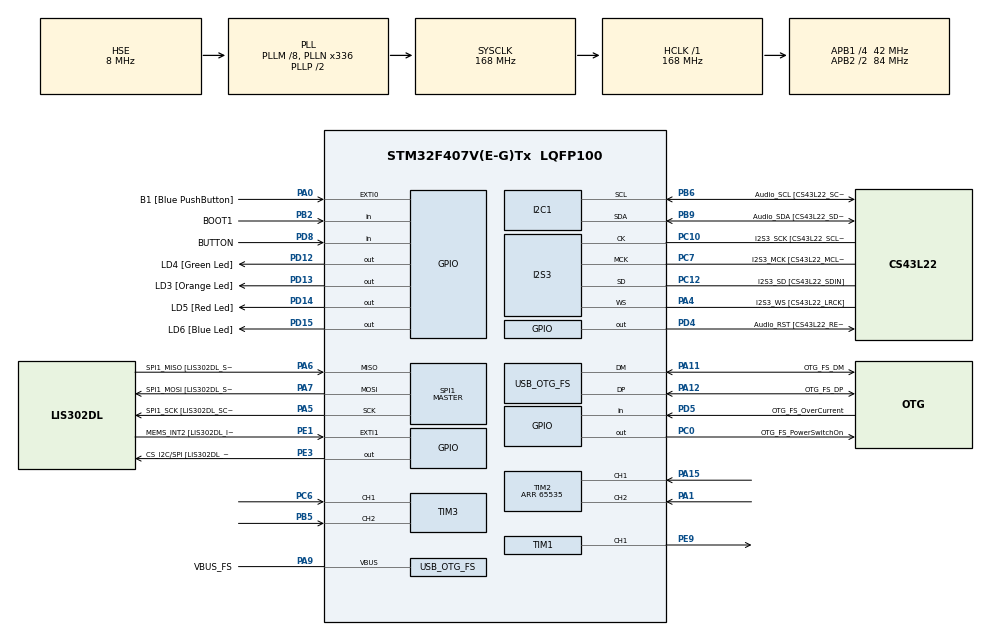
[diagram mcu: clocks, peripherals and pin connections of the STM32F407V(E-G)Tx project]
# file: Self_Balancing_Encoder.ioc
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I2S3.AudioFreq-Half_Duplex_Master=I2S_AUDIOFREQ_96K
I2S3.ErrorAudioFreq=-2.34 %
I2S3.ErrorAudioFreq-Half_Duplex_Master=0.8 %
I2S3.FullDuplexMode=I2S_FULLDUPLEXMODE_DISABLE
I2S3.Instance=SPI$Index
I2S3.RealAudioFreq=93.75 KHz
I2S3.RealAudioFreq-Half_Duplex_Master=96.774 KHz
I2S3.VirtualMode=I2S_MODE_MASTER
Mcu.Family=STM32F4
Mcu.Name=STM32F407V(E-G)Tx
Mcu.Package=LQFP100
NVIC.OTG_FS_IRQn=true\:0\:0\:false\:false\:true\:true\:true\:true
NVIC.PriorityGroup=NVIC_PRIORITYGROUP_0
NVIC.TIM2_IRQn=true\:0\:0\:false\:false\:true\:true\:true\:true
NVIC.TIM3_IRQn=true\:0\:0\:false\:false\:true\:true\:true\:true
PA0-WKUP.GPIO_Label=B1 [Blue PushButton]
PA0-WKUP.GPIO_ModeDefaultEXTI=GPIO_MODE_EVT_RISING
PA0-WKUP.GPIO_PuPd=GPIO_NOPULL
PA0-WKUP.Signal=GPXTI0
PA1.Signal=S_TIM2_CH2
PA10.GPIO_Label=OTG_FS_ID
PA10.GPIO_Mode=GPIO_MODE_AF_PP
PA10.GPIO_PuPd=GPIO_NOPULL
PA10.GPIO_Speed=GPIO_SPEED_FREQ_LOW
PA10.Signal=USB_OTG_FS_ID
PA11.GPIO_Label=OTG_FS_DM
PA11.GPIO_Mode=GPIO_MODE_AF_PP
PA11.GPIO_PuPd=GPIO_NOPULL
PA11.GPIO_Speed=GPIO_SPEED_FREQ_LOW
PA11.Mode=Host_Only
PA11.Signal=USB_OTG_FS_DM
PA12.GPIO_Label=OTG_FS_DP
PA12.GPIO_Mode=GPIO_MODE_AF_PP
PA12.GPIO_PuPd=GPIO_NOPULL
PA12.GPIO_Speed=GPIO_SPEED_FREQ_LOW
PA12.Mode=Host_Only
PA12.Signal=USB_OTG_FS_DP
PA13.GPIO_Label=SWDIO
PA13.Mode=Serial_Wire
PA13.Signal=SYS_JTMS-SWDIO
PA14.GPIO_Label=SWCLK
PA14.Mode=Serial_Wire
PA14.Signal=SYS_JTCK-SWCLK
PA15.Signal=S_TIM2_CH1_ETR
PA4.GPIO_Label=I2S3_WS [CS43L22_LRCK]
PA4.GPIO_Mode=GPIO_MODE_AF_PP
PA4.GPIO_PuPd=GPIO_NOPULL
PA4.GPIO_Speed=GPIO_SPEED_FREQ_LOW
PA4.Mode=Half_Duplex_Master
PA4.Signal=I2S3_WS
PA5.GPIO_Label=SPI1_SCK [LIS302DL_SCL/SPC]
PA5.GPIO_Mode=GPIO_MODE_AF_PP
PA5.GPIO_PuPd=GPIO_NOPULL
PA5.GPIO_Speed=GPIO_SPEED_FREQ_LOW
PA5.Mode=Full_Duplex_Master
PA5.Signal=SPI1_SCK
PA6.GPIO_Label=SPI1_MISO [LIS302DL_SDO]
PA6.GPIO_Mode=GPIO_MODE_AF_PP
PA6.GPIO_PuPd=GPIO_NOPULL
PA6.GPIO_Speed=GPIO_SPEED_FREQ_LOW
PA6.Mode=Full_Duplex_Master
PA6.Signal=SPI1_MISO
PA7.GPIO_Label=SPI1_MOSI [LIS302DL_SDA/SDI/SDO]
PA7.GPIO_Mode=GPIO_MODE_AF_PP
PA7.GPIO_PuPd=GPIO_NOPULL
PA7.GPIO_Speed=GPIO_SPEED_FREQ_LOW
PA7.Mode=Full_Duplex_Master
PA7.Signal=SPI1_MOSI
PA9.GPIO_Label=VBUS_FS
PA9.GPIO_Mode=GPIO_MODE_INPUT
PA9.GPIO_PuPd=GPIO_NOPULL
PA9.Mode=Activate_VBUS
PA9.Signal=USB_OTG_FS_VBUS
PB10.GPIO_Label=CLK_IN [MP45DT02_CLK]
PB10.GPIO_Mode=GPIO_MODE_AF_PP
PB10.GPIO_PuPd=GPIO_NOPULL
PB10.GPIO_Speed=GPIO_SPEED_FREQ_LOW
PB10.Signal=I2S2_CK
PB2.GPIO_Label=BOOT1
PB2.GPIO_Mode=GPIO_MODE_INPUT
PB2.GPIO_PuPd=GPIO_NOPULL
PB2.Signal=GPIO_Input
PB3.GPIO_Label=SWO
PB3.Signal=SYS_JTDO-SWO
PB5.Signal=S_TIM3_CH2
PB6.GPIO_Label=Audio_SCL [CS43L22_SCL]
PB6.GPIO_Mode=GPIO_MODE_AF_OD
PB6.GPIO_Pu=GPIO_PULLUP
PB6.GPIO_PuPd=GPIO_NOPULL
PB6.GPIO_Speed=GPIO_SPEED_FREQ_LOW
PB6.Mode=I2C
PB6.Signal=I2C1_SCL
PB9.GPIO_Label=Audio_SDA [CS43L22_SDA]
PB9.GPIO_Mode=GPIO_MODE_AF_OD
PB9.GPIO_Pu=GPIO_PULLUP
PB9.GPIO_PuPd=GPIO_NOPULL
PB9.GPIO_Speed=GPIO_SPEED_FREQ_LOW
PB9.Mode=I2C
PB9.Signal=I2C1_SDA
PC0.GPIO_Label=OTG_FS_PowerSwitchOn
PC0.GPIO_PuPd=GPIO_NOPULL
PC0.GPIO_Speed=GPIO_SPEED_FREQ_LOW
PC0.PinState=GPIO_PIN_SET
PC0.Signal=GPIO_Output
PC10.GPIO_Label=I2S3_SCK [CS43L22_SCLK]
PC10.GPIO_Mode=GPIO_MODE_AF_PP
PC10.GPIO_PuPd=GPIO_NOPULL
PC10.GPIO_Speed=GPIO_SPEED_FREQ_LOW
PC10.Mode=Half_Duplex_Master
PC10.Signal=I2S3_CK
PC12.GPIO_Label=I2S3_SD [CS43L22_SDIN]
PC12.GPIO_Mode=GPIO_MODE_AF_PP
PC12.GPIO_PuPd=GPIO_NOPULL
PC12.GPIO_Speed=GPIO_SPEED_FREQ_LOW
PC12.Mode=Half_Duplex_Master
PC12.Signal=I2S3_SD
PC14-OSC32_IN.GPIO_Label=PC14-OSC32_IN
PC14-OSC32_IN.Mode=LSE-External-Oscillator
PC14-OSC32_IN.Signal=RCC_OSC32_IN
PC15-OSC32_OUT.GPIO_Label=PC15-OSC32_OUT
PC15-OSC32_OUT.Mode=LSE-External-Oscillator
PC15-OSC32_OUT.Signal=RCC_OSC32_OUT
PC3.GPIO_Label=PDM_OUT [MP45DT02_DOUT]
PC3.GPIO_Mode=GPIO_MODE_AF_PP
PC3.GPIO_PuPd=GPIO_NOPULL
PC3.GPIO_Speed=GPIO_SPEED_FREQ_LOW
PC3.Signal=I2S2_SD
PC6.Signal=S_TIM3_CH1
PC7.GPIO_Label=I2S3_MCK [CS43L22_MCLK]
PC7.GPIO_Mode=GPIO_MODE_AF_PP
PC7.GPIO_PuPd=GPIO_NOPULL
PC7.GPIO_Speed=GPIO_SPEED_FREQ_LOW
PC7.Mode=Master_Clock_Activated
PC7.Signal=I2S3_MCK
PD12.GPIO_Label=LD4 [Green Led]
PD12.GPIO_PuPd=GPIO_NOPULL
PD12.GPIO_Speed=GPIO_SPEED_FREQ_LOW
PD12.Signal=GPIO_Output
PD13.GPIO_Label=LD3 [Orange Led]
PD13.GPIO_PuPd=GPIO_NOPULL
PD13.GPIO_Speed=GPIO_SPEED_FREQ_LOW
PD13.Signal=GPIO_Output
PD14.GPIO_Label=LD5 [Red Led]
PD14.GPIO_PuPd=GPIO_NOPULL
PD14.GPIO_Speed=GPIO_SPEED_FREQ_LOW
PD14.Signal=GPIO_Output
PD15.GPIO_Label=LD6 [Blue Led]
PD15.GPIO_PuPd=GPIO_NOPULL
PD15.GPIO_Speed=GPIO_SPEED_FREQ_LOW
PD15.Signal=GPIO_Output
PD4.GPIO_Label=Audio_RST [CS43L22_RESET]
PD4.GPIO_PuPd=GPIO_NOPULL
PD4.GPIO_Speed=GPIO_SPEED_FREQ_LOW
PD4.Signal=GPIO_Output
PD5.GPIO_Label=OTG_FS_OverCurrent
PD5.GPIO_Mode=GPIO_MODE_INPUT
PD5.GPIO_PuPd=GPIO_NOPULL
PD5.Signal=GPIO_Input
PD8.GPIO_Label=BUTTON
PD8.GPIO_PuPd=GPIO_PULLDOWN
PD8.Signal=GPIO_Input
PE1.GPIO_Label=MEMS_INT2 [LIS302DL_INT2]
PE1.GPIO_ModeDefaultEXTI=GPIO_MODE_EVT_RISING
PE1.GPIO_PuPd=GPIO_NOPULL
PE1.Signal=GPXTI1
PE3.GPIO_Label=CS_I2C/SPI [LIS302DL_CS_I2C/SPI]
PE3.GPIO_PuPd=GPIO_NOPULL
PE3.GPIO_Speed=GPIO_SPEED_FREQ_LOW
PE3.Signal=GPIO_Output
PE9.Signal=S_TIM1_CH1
PH0-OSC_IN.GPIO_Label=PH0-OSC_IN
PH0-OSC_IN.Mode=HSE-External-Oscillator
PH0-OSC_IN.Signal=RCC_OSC_IN
PH1-OSC_OUT.GPIO_Label=PH1-OSC_OUT
PH1-OSC_OUT.Mode=HSE-External-Oscillator
PH1-OSC_OUT.Signal=RCC_OSC_OUT
ProjectManager.HeapSize=0x200
ProjectManager.StackSize=0x400
ProjectManager.TargetToolchain=STM32CubeIDE
RCC.48MHZClocksFreq_Value=48000000
RCC.AHBFreq_Value=168000000
RCC.APB1CLKDivider=RCC_HCLK_DIV4
RCC.APB1Freq_Value=42000000
RCC.APB1TimFreq_Value=84000000
RCC.APB2CLKDivider=RCC_HCLK_DIV2
RCC.APB2Freq_Value=84000000
RCC.APB2TimFreq_Value=168000000
RCC.CortexFreq_Value=168000000
RCC.HCLKFreq_Value=168000000
RCC.HSE_VALUE=8000000
RCC.HSI_VALUE=16000000
RCC.PLLM=8
RCC.PLLN=336
RCC.PLLQ=7
RCC.SYSCLKFreq_VALUE=168000000
RCC.SYSCLKSource=RCC_SYSCLKSOURCE_PLLCLK
RCC.VCOOutputFreq_Value=336000000
SH.S_TIM1_CH1.0=TIM1_CH1,PWM Generation1 CH1
SH.S_TIM2_CH1_ETR.0=TIM2_CH1,Encoder_Interface
SH.S_TIM2_CH2.0=TIM2_CH2,Encoder_Interface
SH.S_TIM3_CH1.0=TIM3_CH1,Encoder_Interface
SH.S_TIM3_CH2.0=TIM3_CH2,Encoder_Interface
SPI1.BaudRatePrescaler-Full_Duplex_Master=SPI_BAUDRATEPRESCALER_2
SPI1.CalculateBaudRate-Full_Duplex_Master=42.0 MBits/s
SPI1.Direction=SPI_DIRECTION_2LINES
SPI1.Mode=SPI_MODE_MASTER
SPI1.Mode-Full_Duplex_Master=SPI_MODE_MASTER
SPI1.VirtualType=VM_MASTER
TIM1.Channel-PWM\ Generation1\ CH1=TIM_CHANNEL_1
TIM1.Prescaler=16800-1
TIM2.EncoderMode=TIM_ENCODERMODE_TI12
TIM2.IC1Polarity=TIM_ICPOLARITY_FALLING
TIM2.IC2Polarity=TIM_ICPOLARITY_FALLING
TIM2.Period=65535
TIM3.IC1Polarity=TIM_ICPOLARITY_FALLING
TIM3.IC2Polarity=TIM_ICPOLARITY_FALLING
USB_HOST.BSP.number=1
USB_HOST.USBH_HandleTypeDef-CDC_FS=hUsbHostFS
USB_HOST.VirtualModeFS=Cdc
USB_HOST0.BSP.STBoard=false
USB_HOST0.BSP.api=Unknown
USB_HOST0.BSP.instance=PC0
USB_HOST0.BSP.ip=GPIO
USB_HOST0.BSP.mode=Output
USB_HOST0.BSP.name=Drive_VBUS_FS
USB_HOST0.BSP.solution=PC0
USB_OTG_FS.VirtualMode=Host_Only
USB_OTG_FS.phy_itface=HCD_PHY_EMBEDDED
VP_USB_HOST_VS_USB_HOST_CDC_FS.Mode=CDC_FS
board=STM32F407G-DISC1

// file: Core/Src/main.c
/* USER CODE BEGIN Header */
/**
  ******************************************************************************
  * @file           : main.c
  * @brief          : Main program body
  ******************************************************************************
  * @attention
  *
  * Copyright (c) 2025 STMicroelectronics.
  * All rights reserved.
  *
  * This software is licensed under terms that can be found in the LICENSE file
  * in the root directory of this software component.
  * If no LICENSE file comes with this software, it is provided AS-IS.
  *
  ******************************************************************************
  */
/* USER CODE END Header */
#include "main.h"
#include "usb_host.h"

I2C_HandleTypeDef hi2c1;

I2S_HandleTypeDef hi2s3;

SPI_HandleTypeDef hspi1;

TIM_HandleTypeDef htim1;
TIM_HandleTypeDef htim2;
TIM_HandleTypeDef htim3;

/* USER CODE BEGIN PV */
uint32_t gCounter1 = 0;
int16_t gCount1 = 0;
int16_t gPosition1 = 0;
int16_t gSpeed1 = 0;

uint32_t gCounter2 = 0;
int16_t gCount2 = 0;
int16_t gPosition2 = 0;
int16_t gSpeed2 = 0;
/* USER CODE END PV */

void SystemClock_Config(void);
static void MX_GPIO_Init(void);
static void MX_I2C1_Init(void);
static void MX_I2S3_Init(void);
static void MX_SPI1_Init(void);
static void MX_TIM1_Init(void);
static void MX_TIM2_Init(void);
static void MX_TIM3_Init(void);
void MX_USB_HOST_Process(void);

int main(void)
{

  /* MCU Configuration--------------------------------------------------------*/

  /* Reset of all peripherals, Initializes the Flash interface and the Systick. */
  HAL_Init();

  /* Configure the system clock */
  SystemClock_Config();

  /* Initialize all configured peripherals */
  MX_GPIO_Init();
  MX_I2C1_Init();
  MX_I2S3_Init();
  MX_SPI1_Init();
  MX_USB_HOST_Init();
  MX_TIM1_Init();
  MX_TIM2_Init();
  MX_TIM3_Init();
  /* USER CODE BEGIN 2 */
  HAL_TIM_Encoder_Start_IT(&htim2, TIM_CHANNEL_ALL);
  HAL_TIM_Encoder_Start_IT(&htim3, TIM_CHANNEL_ALL);
  /* USER CODE END 2 */

  /* Infinite loop */
  while (1)
  {
    MX_USB_HOST_Process();

  }
}

void SystemClock_Config(void)
{
  RCC_OscInitTypeDef RCC_OscInitStruct = {0};
  RCC_ClkInitTypeDef RCC_ClkInitStruct = {0};

  /** Configure the main internal regulator output voltage
  */
  __HAL_RCC_PWR_CLK_ENABLE();
  __HAL_PWR_VOLTAGESCALING_CONFIG(PWR_REGULATOR_VOLTAGE_SCALE1);

  /** Initializes the RCC Oscillators according to the specified parameters
  * in the RCC_OscInitTypeDef structure.
  */
  RCC_OscInitStruct.OscillatorType = RCC_OSCILLATORTYPE_HSE;
  RCC_OscInitStruct.HSEState = RCC_HSE_ON;
  RCC_OscInitStruct.PLL.PLLState = RCC_PLL_ON;
  RCC_OscInitStruct.PLL.PLLSource = RCC_PLLSOURCE_HSE;
  RCC_OscInitStruct.PLL.PLLM = 8;
  RCC_OscInitStruct.PLL.PLLN = 336;
  RCC_OscInitStruct.PLL.PLLP = RCC_PLLP_DIV2;
  RCC_OscInitStruct.PLL.PLLQ = 7;
  if (HAL_RCC_OscConfig(&RCC_OscInitStruct) != HAL_OK)
  {
    Error_Handler();
  }

  /** Initializes the CPU, AHB and APB buses clocks
  */
  RCC_ClkInitStruct.ClockType = RCC_CLOCKTYPE_HCLK|RCC_CLOCKTYPE_SYSCLK
                              |RCC_CLOCKTYPE_PCLK1|RCC_CLOCKTYPE_PCLK2;
  RCC_ClkInitStruct.SYSCLKSource = RCC_SYSCLKSOURCE_PLLCLK;
  RCC_ClkInitStruct.AHBCLKDivider = RCC_SYSCLK_DIV1;
  RCC_ClkInitStruct.APB1CLKDivider = RCC_HCLK_DIV4;
  RCC_ClkInitStruct.APB2CLKDivider = RCC_HCLK_DIV2;

  if (HAL_RCC_ClockConfig(&RCC_ClkInitStruct, FLASH_LATENCY_5) != HAL_OK)
  {
    Error_Handler();
  }
}

static void MX_I2C1_Init(void)
{

  hi2c1.Instance = I2C1;
  hi2c1.Init.ClockSpeed = 100000;
  hi2c1.Init.DutyCycle = I2C_DUTYCYCLE_2;
  hi2c1.Init.OwnAddress1 = 0;
  hi2c1.Init.AddressingMode = I2C_ADDRESSINGMODE_7BIT;
  hi2c1.Init.DualAddressMode = I2C_DUALADDRESS_DISABLE;
  hi2c1.Init.OwnAddress2 = 0;
  hi2c1.Init.GeneralCallMode = I2C_GENERALCALL_DISABLE;
  hi2c1.Init.NoStretchMode = I2C_NOSTRETCH_DISABLE;
  if (HAL_I2C_Init(&hi2c1) != HAL_OK)
  {
    Error_Handler();
  }

}

static void MX_I2S3_Init(void)
{

  hi2s3.Instance = SPI3;
  hi2s3.Init.Mode = I2S_MODE_MASTER_TX;
  hi2s3.Init.Standard = I2S_STANDARD_PHILIPS;
  hi2s3.Init.DataFormat = I2S_DATAFORMAT_16B;
  hi2s3.Init.MCLKOutput = I2S_MCLKOUTPUT_ENABLE;
  hi2s3.Init.AudioFreq = I2S_AUDIOFREQ_96K;
  hi2s3.Init.CPOL = I2S_CPOL_LOW;
  hi2s3.Init.ClockSource = I2S_CLOCK_PLL;
  hi2s3.Init.FullDuplexMode = I2S_FULLDUPLEXMODE_DISABLE;
  if (HAL_I2S_Init(&hi2s3) != HAL_OK)
  {
    Error_Handler();
  }

}

static void MX_SPI1_Init(void)
{

  /* SPI1 parameter configuration*/
  hspi1.Instance = SPI1;
  hspi1.Init.Mode = SPI_MODE_MASTER;
  hspi1.Init.Direction = SPI_DIRECTION_2LINES;
  hspi1.Init.DataSize = SPI_DATASIZE_8BIT;
  hspi1.Init.CLKPolarity = SPI_POLARITY_LOW;
  hspi1.Init.CLKPhase = SPI_PHASE_1EDGE;
  hspi1.Init.NSS = SPI_NSS_SOFT;
  hspi1.Init.BaudRatePrescaler = SPI_BAUDRATEPRESCALER_2;
  hspi1.Init.FirstBit = SPI_FIRSTBIT_MSB;
  hspi1.Init.TIMode = SPI_TIMODE_DISABLE;
  hspi1.Init.CRCCalculation = SPI_CRCCALCULATION_DISABLE;
  hspi1.Init.CRCPolynomial = 10;
  if (HAL_SPI_Init(&hspi1) != HAL_OK)
  {
    Error_Handler();
  }

}

static void MX_TIM1_Init(void)
{

  TIM_MasterConfigTypeDef sMasterConfig = {0};
  TIM_OC_InitTypeDef sConfigOC = {0};
  TIM_BreakDeadTimeConfigTypeDef sBreakDeadTimeConfig = {0};

  htim1.Instance = TIM1;
  htim1.Init.Prescaler = 16800-1;
  htim1.Init.CounterMode = TIM_COUNTERMODE_UP;
  htim1.Init.Period = 65535;
  htim1.Init.ClockDivision = TIM_CLOCKDIVISION_DIV1;
  htim1.Init.RepetitionCounter = 0;
  htim1.Init.AutoReloadPreload = TIM_AUTORELOAD_PRELOAD_DISABLE;
  if (HAL_TIM_PWM_Init(&htim1) != HAL_OK)
  {
    Error_Handler();
  }
  sMasterConfig.MasterOutputTrigger = TIM_TRGO_RESET;
  sMasterConfig.MasterSlaveMode = TIM_MASTERSLAVEMODE_DISABLE;
  if (HAL_TIMEx_MasterConfigSynchronization(&htim1, &sMasterConfig) != HAL_OK)
  {
    Error_Handler();
  }
  sConfigOC.OCMode = TIM_OCMODE_PWM1;
  sConfigOC.Pulse = 0;
  sConfigOC.OCPolarity = TIM_OCPOLARITY_HIGH;
  sConfigOC.OCNPolarity = TIM_OCNPOLARITY_HIGH;
  sConfigOC.OCFastMode = TIM_OCFAST_DISABLE;
  sConfigOC.OCIdleState = TIM_OCIDLESTATE_RESET;
  sConfigOC.OCNIdleState = TIM_OCNIDLESTATE_RESET;
  if (HAL_TIM_PWM_ConfigChannel(&htim1, &sConfigOC, TIM_CHANNEL_1) != HAL_OK)
  {
    Error_Handler();
  }
  sBreakDeadTimeConfig.OffStateRunMode = TIM_OSSR_DISABLE;
  sBreakDeadTimeConfig.OffStateIDLEMode = TIM_OSSI_DISABLE;
  sBreakDeadTimeConfig.LockLevel = TIM_LOCKLEVEL_OFF;
  sBreakDeadTimeConfig.DeadTime = 0;
  sBreakDeadTimeConfig.BreakState = TIM_BREAK_DISABLE;
  sBreakDeadTimeConfig.BreakPolarity = TIM_BREAKPOLARITY_HIGH;
  sBreakDeadTimeConfig.AutomaticOutput = TIM_AUTOMATICOUTPUT_DISABLE;
  if (HAL_TIMEx_ConfigBreakDeadTime(&htim1, &sBreakDeadTimeConfig) != HAL_OK)
  {
    Error_Handler();
  }
  HAL_TIM_MspPostInit(&htim1);

}

static void MX_TIM2_Init(void)
{

  TIM_Encoder_InitTypeDef sConfig = {0};
  TIM_MasterConfigTypeDef sMasterConfig = {0};

  htim2.Instance = TIM2;
  htim2.Init.Prescaler = 0;
  htim2.Init.CounterMode = TIM_COUNTERMODE_UP;
  htim2.Init.Period = 65535;
  htim2.Init.ClockDivision = TIM_CLOCKDIVISION_DIV1;
  htim2.Init.AutoReloadPreload = TIM_AUTORELOAD_PRELOAD_DISABLE;
  sConfig.EncoderMode = TIM_ENCODERMODE_TI12;
  sConfig.IC1Polarity = TIM_ICPOLARITY_FALLING;
  sConfig.IC1Selection = TIM_ICSELECTION_DIRECTTI;
  sConfig.IC1Prescaler = TIM_ICPSC_DIV1;
  sConfig.IC1Filter = 0;
  sConfig.IC2Polarity = TIM_ICPOLARITY_FALLING;
  sConfig.IC2Selection = TIM_ICSELECTION_DIRECTTI;
  sConfig.IC2Prescaler = TIM_ICPSC_DIV1;
  sConfig.IC2Filter = 0;
  if (HAL_TIM_Encoder_Init(&htim2, &sConfig) != HAL_OK)
  {
    Error_Handler();
  }
  sMasterConfig.MasterOutputTrigger = TIM_TRGO_RESET;
  sMasterConfig.MasterSlaveMode = TIM_MASTERSLAVEMODE_DISABLE;
  if (HAL_TIMEx_MasterConfigSynchronization(&htim2, &sMasterConfig) != HAL_OK)
  {
    Error_Handler();
  }

}

static void MX_TIM3_Init(void)
{

  TIM_Encoder_InitTypeDef sConfig = {0};
  TIM_MasterConfigTypeDef sMasterConfig = {0};

  htim3.Instance = TIM3;
  htim3.Init.Prescaler = 0;
  htim3.Init.CounterMode = TIM_COUNTERMODE_UP;
  htim3.Init.Period = 65535;
  htim3.Init.ClockDivision = TIM_CLOCKDIVISION_DIV1;
  htim3.Init.AutoReloadPreload = TIM_AUTORELOAD_PRELOAD_DISABLE;
  sConfig.EncoderMode = TIM_ENCODERMODE_TI1;
  sConfig.IC1Polarity = TIM_ICPOLARITY_FALLING;
  sConfig.IC1Selection = TIM_ICSELECTION_DIRECTTI;
  sConfig.IC1Prescaler = TIM_ICPSC_DIV1;
  sConfig.IC1Filter = 0;
  sConfig.IC2Polarity = TIM_ICPOLARITY_FALLING;
  sConfig.IC2Selection = TIM_ICSELECTION_DIRECTTI;
  sConfig.IC2Prescaler = TIM_ICPSC_DIV1;
  sConfig.IC2Filter = 0;
  if (HAL_TIM_Encoder_Init(&htim3, &sConfig) != HAL_OK)
  {
    Error_Handler();
  }
  sMasterConfig.MasterOutputTrigger = TIM_TRGO_RESET;
  sMasterConfig.MasterSlaveMode = TIM_MASTERSLAVEMODE_DISABLE;
  if (HAL_TIMEx_MasterConfigSynchronization(&htim3, &sMasterConfig) != HAL_OK)
  {
    Error_Handler();
  }

}

static void MX_GPIO_Init(void)
{
  GPIO_InitTypeDef GPIO_InitStruct = {0};

  /* GPIO Ports Clock Enable */
  __HAL_RCC_GPIOE_CLK_ENABLE();
  __HAL_RCC_GPIOC_CLK_ENABLE();
  __HAL_RCC_GPIOH_CLK_ENABLE();
  __HAL_RCC_GPIOA_CLK_ENABLE();
  __HAL_RCC_GPIOB_CLK_ENABLE();
  __HAL_RCC_GPIOD_CLK_ENABLE();

  /*Configure GPIO pin Output Level */
  HAL_GPIO_WritePin(CS_I2C_SPI_GPIO_Port, CS_I2C_SPI_Pin, GPIO_PIN_RESET);

  /*Configure GPIO pin Output Level */
  HAL_GPIO_WritePin(OTG_FS_PowerSwitchOn_GPIO_Port, OTG_FS_PowerSwitchOn_Pin, GPIO_PIN_SET);

  /*Configure GPIO pin Output Level */
  HAL_GPIO_WritePin(GPIOD, LD4_Pin|LD3_Pin|LD5_Pin|LD6_Pin
                          |Audio_RST_Pin, GPIO_PIN_RESET);

  /*Configure GPIO pin : CS_I2C_SPI_Pin */
  GPIO_InitStruct.Pin = CS_I2C_SPI_Pin;
  GPIO_InitStruct.Mode = GPIO_MODE_OUTPUT_PP;
  GPIO_InitStruct.Pull = GPIO_NOPULL;
  GPIO_InitStruct.Speed = GPIO_SPEED_FREQ_LOW;
  HAL_GPIO_Init(CS_I2C_SPI_GPIO_Port, &GPIO_InitStruct);

  /*Configure GPIO pin : OTG_FS_PowerSwitchOn_Pin */
  GPIO_InitStruct.Pin = OTG_FS_PowerSwitchOn_Pin;
  GPIO_InitStruct.Mode = GPIO_MODE_OUTPUT_PP;
  GPIO_InitStruct.Pull = GPIO_NOPULL;
  GPIO_InitStruct.Speed = GPIO_SPEED_FREQ_LOW;
  HAL_GPIO_Init(OTG_FS_PowerSwitchOn_GPIO_Port, &GPIO_InitStruct);

  /*Configure GPIO pin : PDM_OUT_Pin */
  GPIO_InitStruct.Pin = PDM_OUT_Pin;
  GPIO_InitStruct.Mode = GPIO_MODE_AF_PP;
  GPIO_InitStruct.Pull = GPIO_NOPULL;
  GPIO_InitStruct.Speed = GPIO_SPEED_FREQ_LOW;
  GPIO_InitStruct.Alternate = GPIO_AF5_SPI2;
  HAL_GPIO_Init(PDM_OUT_GPIO_Port, &GPIO_InitStruct);

  /*Configure GPIO pin : B1_Pin */
  GPIO_InitStruct.Pin = B1_Pin;
  GPIO_InitStruct.Mode = GPIO_MODE_EVT_RISING;
  GPIO_InitStruct.Pull = GPIO_NOPULL;
  HAL_GPIO_Init(B1_GPIO_Port, &GPIO_InitStruct);

  /*Configure GPIO pin : BOOT1_Pin */
  GPIO_InitStruct.Pin = BOOT1_Pin;
  GPIO_InitStruct.Mode = GPIO_MODE_INPUT;
  GPIO_InitStruct.Pull = GPIO_NOPULL;
  HAL_GPIO_Init(BOOT1_GPIO_Port, &GPIO_InitStruct);

  /*Configure GPIO pin : CLK_IN_Pin */
  GPIO_InitStruct.Pin = CLK_IN_Pin;
  GPIO_InitStruct.Mode = GPIO_MODE_AF_PP;
  GPIO_InitStruct.Pull = GPIO_NOPULL;
  GPIO_InitStruct.Speed = GPIO_SPEED_FREQ_LOW;
  GPIO_InitStruct.Alternate = GPIO_AF5_SPI2;
  HAL_GPIO_Init(CLK_IN_GPIO_Port, &GPIO_InitStruct);

  /*Configure GPIO pin : BUTTON_Pin */
  GPIO_InitStruct.Pin = BUTTON_Pin;
  GPIO_InitStruct.Mode = GPIO_MODE_INPUT;
  GPIO_InitStruct.Pull = GPIO_PULLDOWN;
  HAL_GPIO_Init(BUTTON_GPIO_Port, &GPIO_InitStruct);

  /*Configure GPIO pins : LD4_Pin LD3_Pin LD5_Pin LD6_Pin
                           Audio_RST_Pin */
  GPIO_InitStruct.Pin = LD4_Pin|LD3_Pin|LD5_Pin|LD6_Pin
                          |Audio_RST_Pin;
  GPIO_InitStruct.Mode = GPIO_MODE_OUTPUT_PP;
  GPIO_InitStruct.Pull = GPIO_NOPULL;
  GPIO_InitStruct.Speed = GPIO_SPEED_FREQ_LOW;
  HAL_GPIO_Init(GPIOD, &GPIO_InitStruct);

  /*Configure GPIO pin : OTG_FS_OverCurrent_Pin */
  GPIO_InitStruct.Pin = OTG_FS_OverCurrent_Pin;
  GPIO_InitStruct.Mode = GPIO_MODE_INPUT;
  GPIO_InitStruct.Pull = GPIO_NOPULL;
  HAL_GPIO_Init(OTG_FS_OverCurrent_GPIO_Port, &GPIO_InitStruct);

  /*Configure GPIO pin : MEMS_INT2_Pin */
  GPIO_InitStruct.Pin = MEMS_INT2_Pin;
  GPIO_InitStruct.Mode = GPIO_MODE_EVT_RISING;
  GPIO_InitStruct.Pull = GPIO_NOPULL;
  HAL_GPIO_Init(MEMS_INT2_GPIO_Port, &GPIO_InitStruct);

}

/* USER CODE BEGIN 4 */
void HAL_TIM_IC_CaptureCallback(TIM_HandleTypeDef *htim) {
	if(htim->Instance == TIM2) {
		gCounter1 = __HAL_TIM_GET_COUNTER(htim);

		gCount1 = (int16_t)gCounter1;

		gPosition1 = gCount1/4;
	}
	if(htim->Instance == TIM3) {
		gCounter2 = __HAL_TIM_GET_COUNTER(htim);

		gCount2 = (int16_t)gCounter2;

		gPosition2 = gCount2/4;
	}
}
/* USER CODE END 4 */

void Error_Handler(void)
{
  __disable_irq();
  while (1)
  {
  }
}
